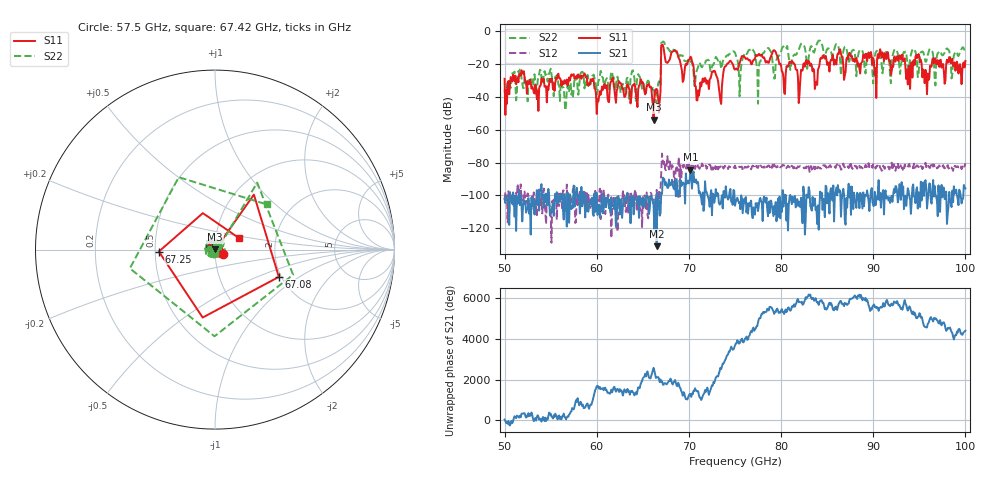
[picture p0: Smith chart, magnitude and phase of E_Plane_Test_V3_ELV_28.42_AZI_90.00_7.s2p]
! 11/26/2026 4:03:49 PM
! C:\ANRITSUVNA\TEMP\TEMP.S2P
! CHANNEL.1
! TR.MEASUREMENT
! RAW.DATA
# HZ S RI R 50.0
! FREQ.HZ  S11RE  S11IM  S21RE  S21IM  S12RE  S12IM  S22RE  S22IM
!; PortSelection: Port_12
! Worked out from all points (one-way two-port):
!   601 points, 50 GHz to 100 GHz, reference 50 ohm
!   highest |S21| = -84.25 dB at 70.17 GHz (marker M1); lowest = -131.0 dB at 66.5 GHz (marker M2)
!   lowest |S11| = -53.8 dB at 66.17 GHz (marker M3), VSWR 1.00, Z = 50.1 + j0.148 ohm
!   |S11| at or under -10 dB: start of sweep to 67 GHz; 67.25 GHz to end of sweep
!   |S22| runs from -48.1 to -5.6 dB; largest |S21 - S12| = 0.00018
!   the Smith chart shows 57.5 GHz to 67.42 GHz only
!   S11 on the Smith chart (normalised r, x): 57.5 GHz: 1.09, -0.05; 67.08 GHz: 1.94, -0.69; 67.25 GHz: 0.52, -0.01; 67.42 GHz: 1.29, +0.17
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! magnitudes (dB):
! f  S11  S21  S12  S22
! 50 GHz  -29.0  -102.2  -102.6  -35.8
! 51.67 GHz  -26.3  -106.0  -102.0  -23.3
! 53.42 GHz  -34.7  -105.1  -106.8  -35.4
! 57.5 GHz  -26.2  -94.0  -99.2  -34.7
! 58.42 GHz  -27.2  -106.6  -102.9  -24.7
! 60.17 GHz  -42.8  -107.5  -103.1  -30.4
! 66.17 GHz  -53.8  -106.3  -102.5  -34.0
! 66.5 GHz  -35.2  -131.0  -96.7  -37.5
! 66.67 GHz  -41.5  -101.8  -104.1  -31.7
! 67.08 GHz  -8.2  -99.0  -74.6  -6.8
! 67.25 GHz  -10.1  -89.7  -80.7  -6.3
! 67.42 GHz  -16.6  -93.8  -84.0  -8.3
! 70.17 GHz  -15.5  -84.2  -84.4  -18.6
! 70.92 GHz  -42.2  -91.6  -80.7  -23.0
! 75 GHz  -23.4  -106.3  -81.9  -13.0
! 79.25 GHz  -11.5  -106.4  -81.2  -28.8
! 80.25 GHz  -27.8  -106.9  -81.7  -9.3
! 83.42 GHz  -24.4  -101.0  -82.1  -10.8
! 91.67 GHz  -16.6  -103.2  -82.6  -15.2
! 94.83 GHz  -15.1  -108.0  -82.1  -27.9
! 95.83 GHz  -38.3  -108.0  -81.5  -16.5
! 100 GHz  -18.0  -95.8  -80.4  -12.6
